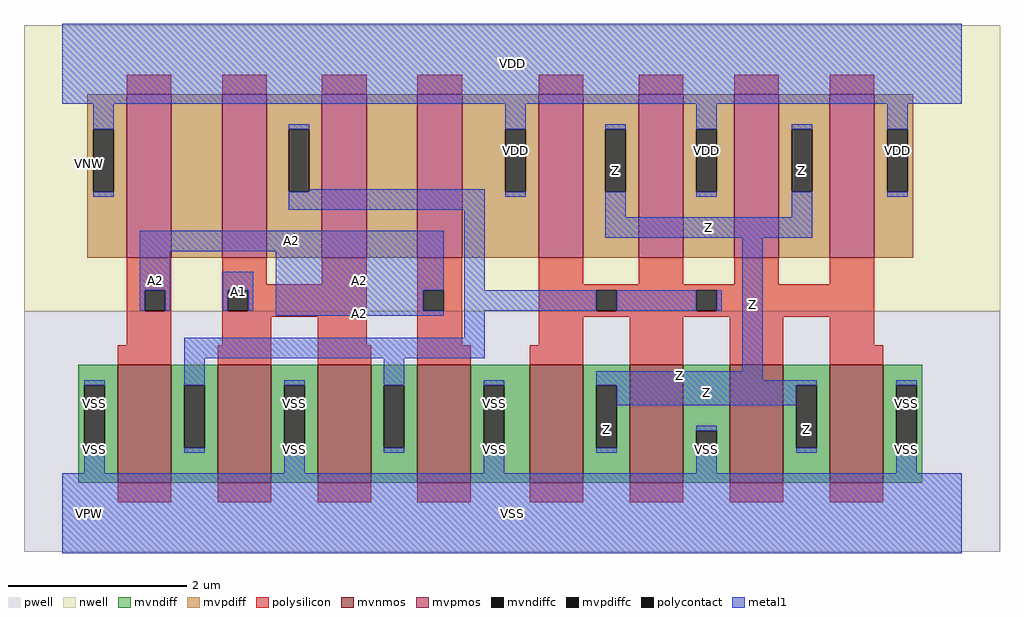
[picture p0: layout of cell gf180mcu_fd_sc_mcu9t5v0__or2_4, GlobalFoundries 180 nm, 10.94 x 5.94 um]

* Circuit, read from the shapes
.subckt gf180mcu_fd_sc_mcu9t5v0__or2_4 A1 A2 Z VDD VNW VPW VSS
XM1 n1 A2 VSS VPW nfet_06v0 w=1.32u l=0.6u m=2
XM2 VSS A1 n1 VPW nfet_06v0 w=1.32u l=0.6u m=2
XM3 Z n1 VSS VPW nfet_06v0 w=1.32u l=0.6u m=4
XM4 n2 A2 VDD VNW pfet_06v0 w=1.83u l=0.5u
XM5 n1 A1 n2 VNW pfet_06v0 w=1.83u l=0.5u
XM6 n3 A1 n1 VNW pfet_06v0 w=1.83u l=0.5u
XM7 VDD A2 n3 VNW pfet_06v0 w=1.83u l=0.5u
XM8 Z n1 VDD VNW pfet_06v0 w=1.83u l=0.5u m=4
.ends

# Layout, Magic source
magic
tech gf180mcuD
magscale 1 10
<< nwell >>
rect -86 453 2102 1094
<< pwell >>
rect -86 -86 2102 453
<< mvnmos >>
rect 124 69 244 333
rect 348 69 468 333
rect 572 69 692 333
rect 796 69 916 333
rect 1048 69 1168 333
rect 1272 69 1392 333
rect 1496 69 1616 333
rect 1720 69 1840 333
<< mvpmos >>
rect 144 573 244 939
rect 358 573 458 939
rect 582 573 682 939
rect 796 573 896 939
rect 1068 573 1168 939
rect 1292 573 1392 939
rect 1506 573 1606 939
rect 1720 573 1820 939
<< mvndiff >>
rect 36 287 124 333
rect 36 147 49 287
rect 95 147 124 287
rect 36 69 124 147
rect 244 287 348 333
rect 244 147 273 287
rect 319 147 348 287
rect 244 69 348 147
rect 468 287 572 333
rect 468 147 497 287
rect 543 147 572 287
rect 468 69 572 147
rect 692 287 796 333
rect 692 147 721 287
rect 767 147 796 287
rect 692 69 796 147
rect 916 287 1048 333
rect 916 147 945 287
rect 991 147 1048 287
rect 916 69 1048 147
rect 1168 287 1272 333
rect 1168 147 1197 287
rect 1243 147 1272 287
rect 1168 69 1272 147
rect 1392 185 1496 333
rect 1392 139 1421 185
rect 1467 139 1496 185
rect 1392 69 1496 139
rect 1616 287 1720 333
rect 1616 147 1645 287
rect 1691 147 1720 287
rect 1616 69 1720 147
rect 1840 287 1928 333
rect 1840 147 1869 287
rect 1915 147 1928 287
rect 1840 69 1928 147
<< mvpdiff >>
rect 56 861 144 939
rect 56 721 69 861
rect 115 721 144 861
rect 56 573 144 721
rect 244 573 358 939
rect 458 861 582 939
rect 458 721 507 861
rect 553 721 582 861
rect 458 573 582 721
rect 682 573 796 939
rect 896 861 1068 939
rect 896 721 993 861
rect 1039 721 1068 861
rect 896 573 1068 721
rect 1168 861 1292 939
rect 1168 721 1217 861
rect 1263 721 1292 861
rect 1168 573 1292 721
rect 1392 861 1506 939
rect 1392 721 1421 861
rect 1467 721 1506 861
rect 1392 573 1506 721
rect 1606 861 1720 939
rect 1606 721 1635 861
rect 1681 721 1720 861
rect 1606 573 1720 721
rect 1820 861 1908 939
rect 1820 721 1849 861
rect 1895 721 1908 861
rect 1820 573 1908 721
<< mvndiffc >>
rect 49 147 95 287
rect 273 147 319 287
rect 497 147 543 287
rect 721 147 767 287
rect 945 147 991 287
rect 1197 147 1243 287
rect 1421 139 1467 185
rect 1645 147 1691 287
rect 1869 147 1915 287
<< mvpdiffc >>
rect 69 721 115 861
rect 507 721 553 861
rect 993 721 1039 861
rect 1217 721 1263 861
rect 1421 721 1467 861
rect 1635 721 1681 861
rect 1849 721 1895 861
<< polysilicon >>
rect 144 939 244 983
rect 358 939 458 983
rect 582 939 682 983
rect 796 939 896 983
rect 1068 939 1168 983
rect 1292 939 1392 983
rect 1506 939 1606 983
rect 1720 939 1820 983
rect 144 500 244 573
rect 144 454 185 500
rect 231 454 244 500
rect 144 377 244 454
rect 358 513 458 573
rect 582 513 682 573
rect 358 500 682 513
rect 358 454 371 500
rect 417 454 682 500
rect 358 441 682 454
rect 358 377 468 441
rect 124 333 244 377
rect 348 333 468 377
rect 572 377 682 441
rect 796 500 896 573
rect 796 454 809 500
rect 855 454 896 500
rect 796 377 896 454
rect 1068 513 1168 573
rect 1292 513 1392 573
rect 1506 513 1606 573
rect 1720 513 1820 573
rect 1068 500 1820 513
rect 1068 454 1197 500
rect 1243 454 1421 500
rect 1467 454 1820 500
rect 1068 441 1820 454
rect 1068 377 1168 441
rect 572 333 692 377
rect 796 333 916 377
rect 1048 333 1168 377
rect 1272 333 1392 441
rect 1496 333 1616 441
rect 1720 377 1820 441
rect 1720 333 1840 377
rect 124 25 244 69
rect 348 25 468 69
rect 572 25 692 69
rect 796 25 916 69
rect 1048 25 1168 69
rect 1272 25 1392 69
rect 1496 25 1616 69
rect 1720 25 1840 69
<< polycontact >>
rect 185 454 231 500
rect 371 454 417 500
rect 809 454 855 500
rect 1197 454 1243 500
rect 1421 454 1467 500
<< metal1 >>
rect 0 918 2016 1098
rect 69 861 115 918
rect 69 710 115 721
rect 507 861 553 872
rect 993 861 1039 918
rect 553 721 947 726
rect 507 680 947 721
rect 993 710 1039 721
rect 1217 861 1263 872
rect 174 588 855 634
rect 174 500 242 588
rect 174 454 185 500
rect 231 454 242 500
rect 360 500 428 542
rect 360 454 371 500
rect 417 454 428 500
rect 478 500 855 588
rect 478 454 809 500
rect 478 443 855 454
rect 901 500 947 680
rect 1217 664 1263 721
rect 1421 861 1467 918
rect 1421 710 1467 721
rect 1635 861 1681 872
rect 1635 664 1681 721
rect 1849 861 1895 918
rect 1849 710 1895 721
rect 1217 618 1681 664
rect 901 454 1197 500
rect 1243 454 1421 500
rect 1467 454 1478 500
rect 901 394 947 454
rect 273 348 947 394
rect 49 287 95 298
rect 49 90 95 147
rect 273 287 319 348
rect 273 136 319 147
rect 497 287 543 298
rect 497 90 543 147
rect 721 287 767 348
rect 1524 318 1570 618
rect 1197 298 1570 318
rect 721 136 767 147
rect 945 287 991 298
rect 945 90 991 147
rect 1197 287 1691 298
rect 1243 242 1645 287
rect 1197 136 1243 147
rect 1421 185 1467 196
rect 1421 90 1467 139
rect 1645 136 1691 147
rect 1869 287 1915 298
rect 1869 90 1915 147
rect 0 -90 2016 90
<< labels >>
flabel metal1 s 360 454 428 542 0 FreeSans 200 0 0 0 A1
port 1 nsew default input
flabel metal1 s 174 588 855 634 0 FreeSans 200 0 0 0 A2
port 2 nsew default input
flabel metal1 s 0 918 2016 1098 0 FreeSans 200 0 0 0 VDD
port 4 nsew power bidirectional abutment
flabel metal1 s 1869 196 1915 298 0 FreeSans 200 0 0 0 VSS
port 7 nsew ground bidirectional abutment
flabel metal1 s 1635 664 1681 872 0 FreeSans 200 0 0 0 Z
port 3 nsew default output
flabel nwell s 10 734 110 834 0 FreeSans 400 0 0 0 VNW
port 5 nsew power bidirectional
flabel pwell s 10 -50 110 50 0 FreeSans 400 0 0 0 VPW
port 6 nsew ground bidirectional
rlabel metal1 s 478 454 855 588 1 A2
port 2 nsew default input
rlabel metal1 s 174 454 242 588 1 A2
port 2 nsew default input
rlabel metal1 s 478 443 855 454 1 A2
port 2 nsew default input
rlabel metal1 s 1217 664 1263 872 1 Z
port 3 nsew default output
rlabel metal1 s 1217 618 1681 664 1 Z
port 3 nsew default output
rlabel metal1 s 1524 318 1570 618 1 Z
port 3 nsew default output
rlabel metal1 s 1197 298 1570 318 1 Z
port 3 nsew default output
rlabel metal1 s 1197 242 1691 298 1 Z
port 3 nsew default output
rlabel metal1 s 1645 136 1691 242 1 Z
port 3 nsew default output
rlabel metal1 s 1197 136 1243 242 1 Z
port 3 nsew default output
rlabel metal1 s 1849 710 1895 918 1 VDD
port 4 nsew power bidirectional abutment
rlabel metal1 s 1421 710 1467 918 1 VDD
port 4 nsew power bidirectional abutment
rlabel metal1 s 993 710 1039 918 1 VDD
port 4 nsew power bidirectional abutment
rlabel metal1 s 69 710 115 918 1 VDD
port 4 nsew power bidirectional abutment
rlabel metal1 s 945 196 991 298 1 VSS
port 7 nsew ground bidirectional abutment
rlabel metal1 s 497 196 543 298 1 VSS
port 7 nsew ground bidirectional abutment
rlabel metal1 s 49 196 95 298 1 VSS
port 7 nsew ground bidirectional abutment
rlabel metal1 s 1869 90 1915 196 1 VSS
port 7 nsew ground bidirectional abutment
rlabel metal1 s 1421 90 1467 196 1 VSS
port 7 nsew ground bidirectional abutment
rlabel metal1 s 945 90 991 196 1 VSS
port 7 nsew ground bidirectional abutment
rlabel metal1 s 497 90 543 196 1 VSS
port 7 nsew ground bidirectional abutment
rlabel metal1 s 49 90 95 196 1 VSS
port 7 nsew ground bidirectional abutment
rlabel metal1 s 0 -90 2016 90 1 VSS
port 7 nsew ground bidirectional abutment
<< properties >>
string FIXED_BBOX 0 0 2016 1008
string GDS_END 275158
string GDS_FILE $PDKPATH/libs.ref/gf180mcu_fd_sc_mcu9t5v0/gds/gf180mcu_fd_sc_mcu9t5v0.gds
string GDS_START 269938
string LEFclass core
string LEFsite GF018hv5v_green_sc9
string LEFsymmetry X Y
<< end >>
